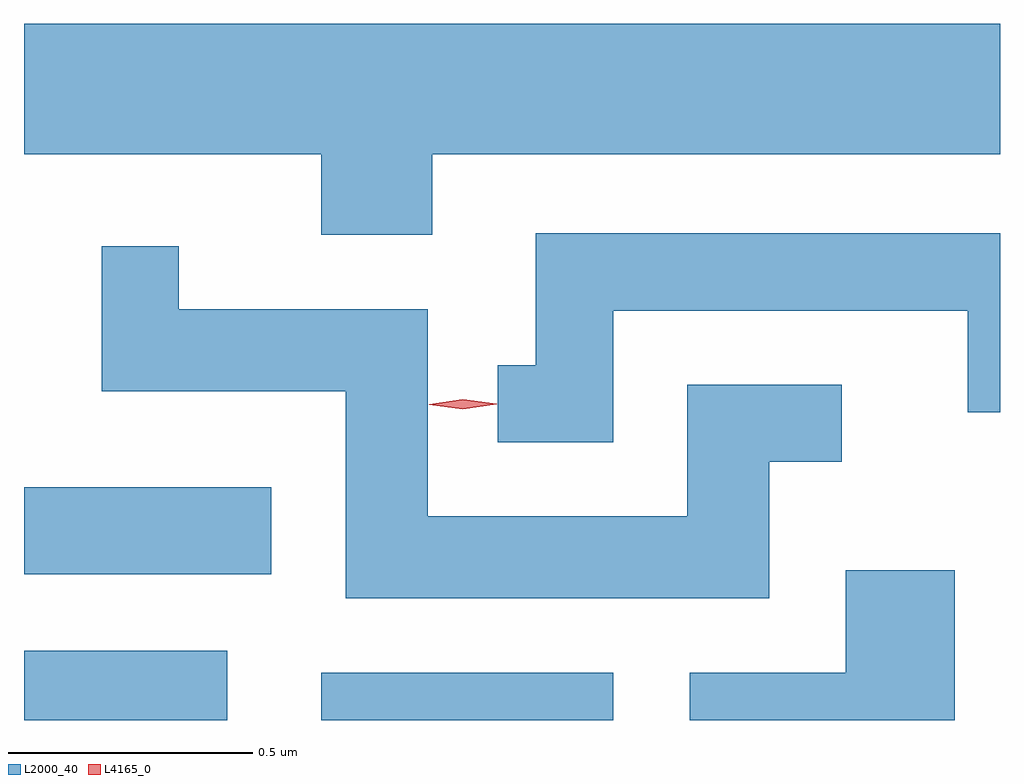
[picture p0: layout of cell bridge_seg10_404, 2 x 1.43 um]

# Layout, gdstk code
import gdstk
lib = gdstk.Library(unit=1e-6, precision=1e-09)
def R(c, l, rs):  # rectangles x0, y0, x1, y1
    for r in rs: c.add(gdstk.rectangle(r[:2], r[2:], *l))
def P(c, l, *ps):  # polygons
    for p in ps: c.add(gdstk.Polygon(p, *l))
L2000_40 = (2000, 40)
L4165_0 = (4165, 0)

bridge_seg10_404 = lib.new_cell('bridge_seg10_404')
R(bridge_seg10_404, L2000_40, [(1101.532,2090.556,1101.949,2090.699), (1102.141,2090.556,1102.739,2090.654), (1101.532,2090.856,1102.039,2091.034)])
P(bridge_seg10_404, L2000_40, [(1102.369,2091.716),(1103.532,2091.716),(1103.532,2091.984),(1101.532,2091.984),(1101.532,2091.716),(1102.141,2091.716),(1102.141,2091.551),(1102.369,2091.551)],
  [(1102.739,2091.396),(1103.466,2091.396),(1103.466,2091.188),(1103.532,2091.188),(1103.532,2091.554),(1102.581,2091.554),(1102.581,2091.284),(1102.503,2091.284),(1102.503,2091.126),(1102.739,2091.126)],
  [(1103.059,2091.086),(1103.208,2091.086),(1103.208,2091.244),(1102.891,2091.244),(1102.891,2090.974),(1102.359,2090.974),(1102.359,2091.399),(1101.849,2091.399),(1101.849,2091.528),(1101.691,2091.528),(1101.691,2091.231),(1102.191,2091.231),(1102.191,2090.806),(1103.059,2090.806)],
  [(1103.439,2090.864),(1103.216,2090.864),(1103.216,2090.654),(1102.896,2090.654),(1102.896,2090.556),(1103.439,2090.556)])
P(bridge_seg10_404, L4165_0, [(1102.431,2091.194),(1102.362,2091.203),(1102.362,2091.204),(1102.362,2091.204),(1102.431,2091.214),(1102.501,2091.205),(1102.501,2091.205),(1102.501,2091.204)])

lib.write_gds('bridge_seg10_404.gds')
